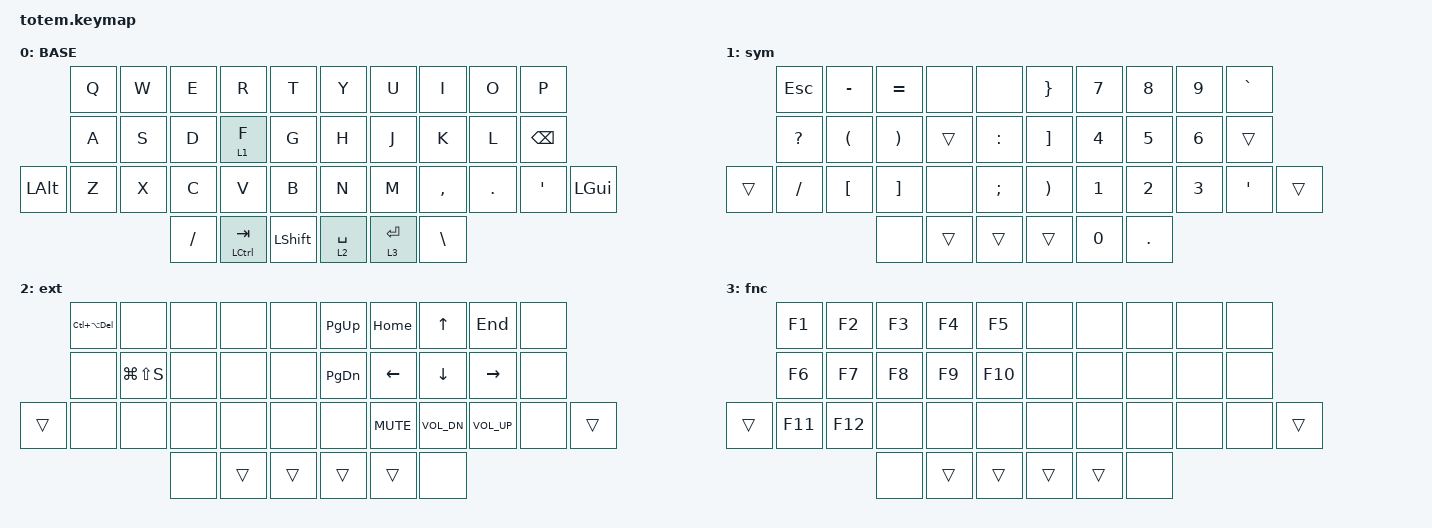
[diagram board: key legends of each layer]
//
//                                                        ▀▀▀▀▀     ▀▀▀▀▀          ▀▀█▀▀
//                                                        ▄▀▀▀▄  ▄  ▄▀▀▀▄  ▄  ▄▀▀▀▄  █  ▄▀▀▀▄
//                                                        █   █  █  █   █  █  █   █  █  █   █
//                                                         ▀▀▀   █   ▀▀▀   █   ▀▀▀   ▀   ▀▀▀
//                                                               █      ▄▄▄█▄▄▄    █   █  
//                                                               ▀      █  █  █     █▄█
//                                                             ▀▀▀▀▀    █  █  █      ▀
//                                                                      ▀  ▀  ▀
//
// ▄▄▄▄▄▄▄▄▄▄▄▄▄▄▄▄▄▄▄▄▄▄▄▄▄▄▄▄▄▄▄▄▄▄▄▄▄▄▄▄▄▄▄▄▄▄▄▄▄▄▄▄▄▄▄▄▄▄▄▄▄▄▄▄▄▄▄▄▄▄▄▄▄▄▄▄▄▄▄▄▄▄▄▄▄▄▄▄▄▄▄▄▄▄▄▄▄▄▄▄▄▄▄▄▄▄▄▄▄▄▄▄▄▄▄▄▄▄▄▄▄▄▄▄▄▄▄▄▄▄▄▄▄▄▄▄▄▄▄▄▄▄▄▄▄▄▄▄▄

#include <behaviors.dtsi>
#include <dt-bindings/zmk/keys.h>

#define BASE 0
#define NAV  1
#define SYM  2
#define ADJ  3
#define TVP1 4
#define TVP2 5

&mt {
    quick-tap-ms = <100>;
    global-quick-tap;
    flavor = "tap-preferred";
    tapping-term-ms = <170>;
};

/ {
    combos {
        compatible = "zmk,combos";

        combo_esc {
            timeout-ms = <50>;
            key-positions = <0 1>;
            bindings = <&kp ESC>;
        };

        combo_tvp {
            timeout-ms = <100>;
            key-positions = <11 12 13>;
            bindings = <&tog 0>;
        };
    };

    macros {
        gif: gif {
            label = "giphy";
            compatible = "zmk,behavior-macro";
            #binding-cells = <0>;
            bindings =
                <&macro_press>,
                <&kp LSHFT>,
                <&macro_tap>,
                <&kp N2>,
                <&macro_release>,
                <&kp LSHFT>,
                <&macro_tap>,
                <&kp G &kp I &kp F>;
        };
    };

    keymap {
        compatible = "zmk,keymap";

        // ▄▄▄▄▄▄▄▄▄▄▄▄▄▄▄▄▄▄▄▄▄▄▄▄▄▄▄▄▄▄▄▄▄▄▄▄▄▄▄▄▄▄▄▄▄▄▄▄▄▄▄▄▄▄▄▄▄▄▄▄▄▄▄▄▄▄▄▄▄▄▄▄▄▄▄▄▄▄▄▄▄▄▄▄▄▄▄▄▄▄▄▄▄▄▄▄▄▄▄▄▄▄▄▄▄▄▄▄▄▄▄▄▄▄▄▄▄▄▄▄▄▄▄▄▄▄▄▄▄▄▄▄▄▄▄▄▄▄▄▄▄▄▄▄▄▄▄▄▄

        base_layer {
            // ┏━━━━━━━━━━━━━━━━━━━━━━━━━━━━━━━━━━━━━━━┓

            label = "BASE";

            // ┗━━━━━━━━━━━━━━━━━━━━━━━━━━━━━━━━━━━━━━━┛
            //             ┏━━━━━━━━━━━┳━━━━━━━━━━━┳━━━━━━━━━━━┳━━━━━━━━━━━┳━━━━━━━━━━━┓   ┏━━━━━━━━━━━┳━━━━━━━━━━━┳━━━━━━━━━━━┳━━━━━━━━━━━┳━━━━━━━━━━━┓
            //             ┃     Q     ┃     W     ┃     F     ┃     P     ┃     G     ┃   ┃     J     ┃     L     ┃     U     ┃     Y     ┃     ;     ┃
            //             ┣━━━━━━━━━━━╋━━━━━━━━━━━╋━━━━━━━━━━━╋━━━━━━━━━━━╋━━━━━━━━━━━┫   ┣━━━━━━━━━━━╋━━━━━━━━━━━╋━━━━━━━━━━━╋━━━━━━━━━━━╋━━━━━━━━━━━┫
            //             ┃     A     ┃     R     ┃     S     ┃     T     ┃     D     ┃   ┃     H     ┃     N     ┃     E     ┃     I     ┃     O     ┃
            // ┏━━━━━━━━━━━╋━━━━━━━━━━━╋━━━━━━━━━━━╋━━━━━━━━━━━╋━━━━━━━━━━━╋━━━━━━━━━━━┫   ┣━━━━━━━━━━━╋━━━━━━━━━━━╋━━━━━━━━━━━╋━━━━━━━━━━━╋━━━━━━━━━━━╋━━━━━━━━━━━┓
            // ┃     Q     ┃     Z     ┃     X     ┃     C     ┃     V     ┃     B     ┃   ┃     K     ┃     M     ┃     ,     ┃     .     ┃     /     ┃     \     ┃
            // ┗━━━━━━━━━━━┻━━━━━━━━━━━┻━━━━━━━━━━━╋━━━━━━━━━━━╋━━━━━━━━━━━╋━━━━━━━━━━━┫   ┣━━━━━━━━━━━╋━━━━━━━━━━━╋━━━━━━━━━━━╋━━━━━━━━━━━┻━━━━━━━━━━━┻━━━━━━━━━━━┛
            //                                     ┃    DEL    ┃    TAB    ┃    SPC    ┃   ┃   ENTER   ┃           ┃   BSPC    ┃
            //                                     ┗━━━━━━━━━━━┻━━━━━━━━━━━┻━━━━━━━━━━━┛   ┗━━━━━━━━━━━┻━━━━━━━━━━━┻━━━━━━━━━━━┛

            bindings = <
              &kp Q  &kp W  &kp E      &kp R          &kp T             &kp Y        &kp U        &kp I          &kp O    &kp P
              &kp A  &kp S  &kp D      &lt 1 F        &kp G             &kp H        &kp J        &kp K          &kp L    &kp BACKSPACE
&kp LEFT_ALT  &kp Z  &kp X  &kp C      &kp V          &kp B             &kp N        &kp M        &kp COMMA      &kp DOT  &kp SQT        &kp LEFT_GUI
                            &kp SLASH  &mt LCTRL TAB  &kp LEFT_SHIFT    &lt 2 SPACE  &lt 3 ENTER  &kp BACKSLASH
            >;
        };

        // ▄▄▄▄▄▄▄▄▄▄▄▄▄▄▄▄▄▄▄▄▄▄▄▄▄▄▄▄▄▄▄▄▄▄▄▄▄▄▄▄▄▄▄▄▄▄▄▄▄▄▄▄▄▄▄▄▄▄▄▄▄▄▄▄▄▄▄▄▄▄▄▄▄▄▄▄▄▄▄▄▄▄▄▄▄▄▄▄▄▄▄▄▄▄▄▄▄▄▄▄▄▄▄▄▄▄▄▄▄▄▄▄▄▄▄▄▄▄▄▄▄▄▄▄▄▄▄▄▄▄▄▄▄▄▄▄▄▄▄▄▄▄▄▄▄▄▄▄▄

        sym_layer {
            // ┏━━━━━━━━━━━━━━━━━━━━━━━━━━━━━━━━━━━━━━━┓

            label = "sym";

            // ┗━━━━━━━━━━━━━━━━━━━━━━━━━━━━━━━━━━━━━━━┛
            //             ┏━━━━━━━━━━━┳━━━━━━━━━━━┳━━━━━━━━━━━┳━━━━━━━━━━━┳━━━━━━━━━━━┓   ┏━━━━━━━━━━━┳━━━━━━━━━━━┳━━━━━━━━━━━┳━━━━━━━━━━━┳━━━━━━━━━━━┓
            //             ┃           ┃           ┃     UP    ┃           ┃     {     ┃   ┃     }     ┃     7     ┃     8     ┃     9     ┃     +     ┃
            //             ┣━━━━━━━━━━━╋━━━━━━━━━━━╋━━━━━━━━━━━╋━━━━━━━━━━━╋━━━━━━━━━━━┫   ┣━━━━━━━━━━━╋━━━━━━━━━━━╋━━━━━━━━━━━╋━━━━━━━━━━━╋━━━━━━━━━━━┫
            //             ┃   SHIFT   ┃   LEFT    ┃    DOWN   ┃   RIGHT   ┃     [     ┃   ┃     ]     ┃     4     ┃     5     ┃     6     ┃     -     ┃
            // ┏━━━━━━━━━━━╋━━━━━━━━━━━╋━━━━━━━━━━━╋━━━━━━━━━━━╋━━━━━━━━━━━╋━━━━━━━━━━━┫   ┣━━━━━━━━━━━╋━━━━━━━━━━━╋━━━━━━━━━━━╋━━━━━━━━━━━╋━━━━━━━━━━━╋━━━━━━━━━━━┓
            // ┃           ┃           ┃   P UP    ┃  C LOCK   ┃  P DOWN   ┃     (     ┃   ┃     )     ┃     1     ┃     2     ┃     3     ┃     *     ┃           ┃
            // ┗━━━━━━━━━━━┻━━━━━━━━━━━┻━━━━━━━━━━━╋━━━━━━━━━━━╋━━━━━━━━━━━╋━━━━━━━━━━━┫   ┣━━━━━━━━━━━╋━━━━━━━━━━━╋━━━━━━━━━━━╋━━━━━━━━━━━┻━━━━━━━━━━━┻━━━━━━━━━━━┛
            //                                     ┃           ┃    TAB    ┃    SPC    ┃   ┃    DEL    ┃     0     ┃           ┃
            //                                     ┗━━━━━━━━━━━┻━━━━━━━━━━━┻━━━━━━━━━━━┛   ┗━━━━━━━━━━━┻━━━━━━━━━━━┻━━━━━━━━━━━┛

            bindings = <
        &kp ESC       &kp MINUS             &kp EQUAL              &none   &none            &kp RBRC  &kp N7  &kp N8      &kp N9  &kp GRAVE
        &kp QUESTION  &kp LEFT_PARENTHESIS  &kp RIGHT_PARENTHESIS  &trans  &kp COLON        &kp RBKT  &kp N4  &kp N5      &kp N6  &trans
&trans  &kp SLASH     &kp LEFT_BRACKET      &kp RIGHT_BRACKET      &none   &kp SEMICOLON    &kp RPAR  &kp N1  &kp N2      &kp N3  &kp SQT    &trans
                                            &none                  &trans  &trans           &trans    &kp N0  &kp PERIOD
            >;
        };

        // ▄▄▄▄▄▄▄▄▄▄▄▄▄▄▄▄▄▄▄▄▄▄▄▄▄▄▄▄▄▄▄▄▄▄▄▄▄▄▄▄▄▄▄▄▄▄▄▄▄▄▄▄▄▄▄▄▄▄▄▄▄▄▄▄▄▄▄▄▄▄▄▄▄▄▄▄▄▄▄▄▄▄▄▄▄▄▄▄▄▄▄▄▄▄▄▄▄▄▄▄▄▄▄▄▄▄▄▄▄▄▄▄▄▄▄▄▄▄▄▄▄▄▄▄▄▄▄▄▄▄▄▄▄▄▄▄▄▄▄▄▄▄▄▄▄▄▄▄▄

        ext_layer {
            // ┏━━━━━━━━━━━━━━━━━━━━━━━━━━━━━━━━━━━━━━━┓

            label = "ext";

            // ┗━━━━━━━━━━━━━━━━━━━━━━━━━━━━━━━━━━━━━━━┛
            //             ┏━━━━━━━━━━━┳━━━━━━━━━━━┳━━━━━━━━━━━┳━━━━━━━━━━━┳━━━━━━━━━━━┓   ┏━━━━━━━━━━━┳━━━━━━━━━━━┳━━━━━━━━━━━┳━━━━━━━━━━━┳━━━━━━━━━━━┓
            //             ┃     !     ┃     @     ┃     #     ┃     $     ┃     %     ┃   ┃     ˆ     ┃     &     ┃     Ü     ┃     '     ┃     "     ┃
            //             ┣━━━━━━━━━━━╋━━━━━━━━━━━╋━━━━━━━━━━━╋━━━━━━━━━━━╋━━━━━━━━━━━┫   ┣━━━━━━━━━━━╋━━━━━━━━━━━╋━━━━━━━━━━━╋━━━━━━━━━━━╋━━━━━━━━━━━┫
            //             ┃     Ä     ┃           ┃    SZ     ┃           ┃           ┃   ┃   MUTE    ┃   YEN     ┃   EURO    ┃  POUND    ┃     Ö     ┃
            // ┏━━━━━━━━━━━╋━━━━━━━━━━━╋━━━━━━━━━━━╋━━━━━━━━━━━╋━━━━━━━━━━━╋━━━━━━━━━━━┫   ┣━━━━━━━━━━━╋━━━━━━━━━━━╋━━━━━━━━━━━╋━━━━━━━━━━━╋━━━━━━━━━━━╋━━━━━━━━━━━┓
            // ┃           ┃  EMAIL1   ┃  EMAIL2   ┃           ┃           ┃           ┃   ┃   VOL-    ┃   VOL+    ┃   LAST    ┃   NEXT    ┃     \     ┃           ┃
            // ┗━━━━━━━━━━━┻━━━━━━━━━━━┻━━━━━━━━━━━╋━━━━━━━━━━━╋━━━━━━━━━━━╋━━━━━━━━━━━┫   ┣━━━━━━━━━━━╋━━━━━━━━━━━╋━━━━━━━━━━━╋━━━━━━━━━━━┻━━━━━━━━━━━┻━━━━━━━━━━━┛
            //                                     ┃           ┃    GIF    ┃    ADJ    ┃   ┃           ┃           ┃           ┃
            //                                     ┗━━━━━━━━━━━┻━━━━━━━━━━━┻━━━━━━━━━━━┛   ┗━━━━━━━━━━━┻━━━━━━━━━━━┻━━━━━━━━━━━┛

            bindings = <
        &kp LC(LA(DEL))  &none          &none  &none   &none     &kp PG_UP      &kp HOME        &kp UP        &kp END       &none
        &none            &kp LG(LS(S))  &none  &none   &none     &kp PAGE_DOWN  &kp LEFT_ARROW  &kp DOWN      &kp RIGHT     &none
&trans  &none            &none          &none  &none   &none     &none          &kp K_MUTE      &kp C_VOL_DN  &kp C_VOL_UP  &none  &trans
                                        &none  &trans  &trans    &trans         &trans          &none
            >;
        };

        // ▄▄▄▄▄▄▄▄▄▄▄▄▄▄▄▄▄▄▄▄▄▄▄▄▄▄▄▄▄▄▄▄▄▄▄▄▄▄▄▄▄▄▄▄▄▄▄▄▄▄▄▄▄▄▄▄▄▄▄▄▄▄▄▄▄▄▄▄▄▄▄▄▄▄▄▄▄▄▄▄▄▄▄▄▄▄▄▄▄▄▄▄▄▄▄▄▄▄▄▄▄▄▄▄▄▄▄▄▄▄▄▄▄▄▄▄▄▄▄▄▄▄▄▄▄▄▄▄▄▄▄▄▄▄▄▄▄▄▄▄▄▄▄▄▄▄▄▄▄

        fnc_layer {
            // ┏━━━━━━━━━━━━━━━━━━━━━━━━━━━━━━━━━━━━━━━┓

            label = "fnc";

            // ┗━━━━━━━━━━━━━━━━━━━━━━━━━━━━━━━━━━━━━━━┛
            //             ┏━━━━━━━━━━━┳━━━━━━━━━━━┳━━━━━━━━━━━┳━━━━━━━━━━━┳━━━━━━━━━━━┓   ┏━━━━━━━━━━━┳━━━━━━━━━━━┳━━━━━━━━━━━┳━━━━━━━━━━━┳━━━━━━━━━━━┓
            //             ┃   RESET   ┃ BT CLEAR  ┃  OUT TOG  ┃           ┃           ┃   ┃           ┃    F7     ┃    F8     ┃    F9     ┃    F12    ┃
            //             ┣━━━━━━━━━━━╋━━━━━━━━━━━╋━━━━━━━━━━━╋━━━━━━━━━━━╋━━━━━━━━━━━┫   ┣━━━━━━━━━━━╋━━━━━━━━━━━╋━━━━━━━━━━━╋━━━━━━━━━━━╋━━━━━━━━━━━┫
            //             ┃ BOOTLOAD  ┃ BT NEXT   ┃           ┃           ┃           ┃   ┃           ┃    F4     ┃    F5     ┃    F6     ┃    F11    ┃
            // ┏━━━━━━━━━━━╋━━━━━━━━━━━╋━━━━━━━━━━━╋━━━━━━━━━━━╋━━━━━━━━━━━╋━━━━━━━━━━━┫   ┣━━━━━━━━━━━╋━━━━━━━━━━━╋━━━━━━━━━━━╋━━━━━━━━━━━╋━━━━━━━━━━━╋━━━━━━━━━━━┓
            // ┃           ┃           ┃ BT PREV   ┃           ┃           ┃           ┃   ┃           ┃    F1     ┃    F2     ┃    F3     ┃    F10    ┃           ┃
            // ┗━━━━━━━━━━━┻━━━━━━━━━━━┻━━━━━━━━━━━╋━━━━━━━━━━━╋━━━━━━━━━━━╋━━━━━━━━━━━┫   ┣━━━━━━━━━━━╋━━━━━━━━━━━╋━━━━━━━━━━━╋━━━━━━━━━━━┻━━━━━━━━━━━┻━━━━━━━━━━━┛
            //                                     ┃           ┃           ┃           ┃   ┃           ┃           ┃           ┃
            //                                     ┗━━━━━━━━━━━┻━━━━━━━━━━━┻━━━━━━━━━━━┛   ┗━━━━━━━━━━━┻━━━━━━━━━━━┻━━━━━━━━━━━┛

            bindings = <
        &kp F1   &kp F2   &kp F3  &kp F4  &kp F5     &none   &none   &none  &none  &none
        &kp F6   &kp F7   &kp F8  &kp F9  &kp F10    &none   &none   &none  &none  &none
&trans  &kp F11  &kp F12  &none   &none   &none      &none   &none   &none  &none  &none  &trans
                          &none   &trans  &trans     &trans  &trans  &none
            >;
        };

        // ▄▄▄▄▄▄▄▄▄▄▄▄▄▄▄▄▄▄▄▄▄▄▄▄▄▄▄▄▄▄▄▄▄▄▄▄▄▄▄▄▄▄▄▄▄▄▄▄▄▄▄▄▄▄▄▄▄▄▄▄▄▄▄▄▄▄▄▄▄▄▄▄▄▄▄▄▄▄▄▄▄▄▄▄▄▄▄▄▄▄▄▄▄▄▄▄▄▄▄▄▄▄▄▄▄▄▄▄▄▄▄▄▄▄▄▄▄▄▄▄▄▄▄▄▄▄▄▄▄▄▄▄▄▄▄▄▄▄▄▄▄▄▄▄▄▄▄▄▄
        // ▄▄▄▄▄▄▄▄▄▄▄▄▄▄▄▄▄▄▄▄▄▄▄▄▄▄▄▄▄▄▄▄▄▄▄▄▄▄▄▄▄▄▄▄▄▄▄▄▄▄▄▄▄▄▄▄▄▄▄▄▄▄▄▄▄▄▄▄▄▄▄▄▄▄▄▄▄▄▄▄▄▄▄▄▄▄▄▄▄▄▄▄▄▄▄▄▄▄▄▄▄▄▄▄▄▄▄▄▄▄▄▄▄▄▄▄▄▄▄▄▄▄▄▄▄▄▄▄▄▄▄▄▄▄▄▄▄▄▄▄▄▄▄▄▄▄▄▄▄
    };
};
